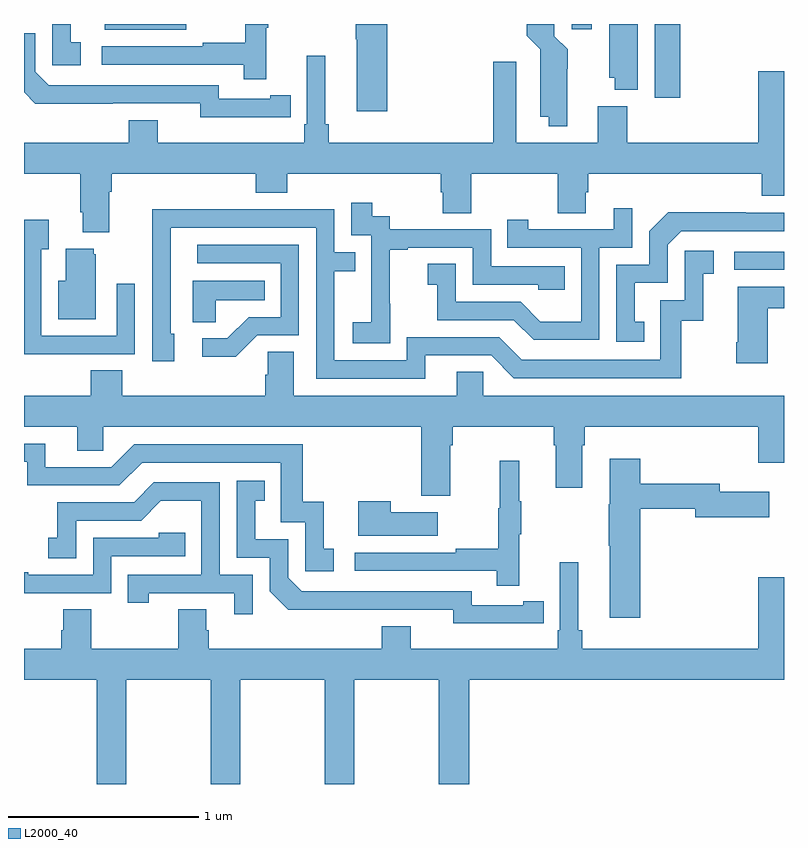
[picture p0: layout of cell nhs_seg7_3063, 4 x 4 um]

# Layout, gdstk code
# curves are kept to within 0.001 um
import gdstk
lib = gdstk.Library(unit=1e-6, precision=1e-09)
def R(c, l, rs):  # rectangles x0, y0, x1, y1
    for r in rs: c.add(gdstk.rectangle(r[:2], r[2:], *l))
def P(c, l, *ps):  # polygons
    for p in ps: c.add(gdstk.Polygon(p, *l))
L2000_40 = (2000, 40)

nhs_seg7_3063 = lib.new_cell('nhs_seg7_3063')
R(nhs_seg7_3063, L2000_40, [(308.739,1070.706,309,1070.802), (308.321,1071.612,308.453,1072), (305.426,1071.971,305.854,1072), (307.883,1071.972,307.987,1072)])
P(nhs_seg7_3063, L2000_40, [(308.23,1072),(308.081,1072),(308.081,1071.717),(308.108,1071.717),(308.108,1071.653),(308.23,1071.653)],
  [(306.275,1071.979),(306.286,1071.979),(306.286,1072),(306.165,1072),(306.165,1071.902),(305.941,1071.902),(305.941,1071.882),(305.409,1071.882),(305.409,1071.786),(306.157,1071.786),(306.157,1071.708),(306.275,1071.708)],
  [(305.299,1071.903),(305.246,1071.903),(305.246,1072),(305.148,1072),(305.148,1071.783),(305.299,1071.783)],
  [(306.911,1072),(306.745,1072),(306.745,1071.919),(306.752,1071.919),(306.752,1071.54),(306.911,1071.54)],
  [(307.86,1071.764),(307.861,1071.764),(307.861,1071.866),(307.791,1071.936),(307.791,1072),(307.646,1072),(307.646,1071.938),(307.718,1071.866),(307.718,1071.512),(307.763,1071.512),(307.763,1071.461),(307.86,1071.461)],
  [(306.296,1071.51),(306.404,1071.51),(306.404,1071.626),(306.296,1071.626),(306.296,1071.606),(306.024,1071.606),(306.024,1071.678),(305.13,1071.678),(305.058,1071.75),(305.058,1071.951),(305,1071.951),(305,1071.64),(305.06,1071.581),(305.928,1071.582),(305.928,1071.509)],
  [(305.449,1071.116),(305.462,1071.116),(305.462,1071.212),(306.221,1071.212),(306.221,1071.113),(306.386,1071.113),(306.386,1071.212),(307.193,1071.212),(307.193,1071.114),(307.205,1071.114),(307.205,1071.004),(307.353,1071.004),(307.353,1071.212),(307.81,1071.212),(307.81,1071.004),(307.957,1071.004),(307.957,1071.114),(307.97,1071.114),(307.97,1071.212),(308.882,1071.212),(308.882,1071.095),(309,1071.095),(309,1071.751),(308.864,1071.751),(308.864,1071.376),(308.174,1071.376),(308.174,1071.568),(308.021,1071.568),(308.021,1071.376),(307.591,1071.376),(307.591,1071.802),(307.469,1071.802),(307.469,1071.376),(306.605,1071.376),(306.605,1071.472),(306.586,1071.472),(306.586,1071.832),(306.489,1071.832),(306.489,1071.472),(306.476,1071.472),(306.476,1071.376),(305.704,1071.376),(305.704,1071.493),(305.552,1071.493),(305.552,1071.376),(305,1071.376),(305,1071.212),(305.297,1071.212),(305.297,1071.01),(305.309,1071.01),(305.309,1070.903),(305.449,1070.903)],
  [(306.927,1070.527),(306.926,1070.527),(306.926,1070.811),(307.021,1070.811),(307.021,1070.823),(307.362,1070.823),(307.362,1070.628),(307.707,1070.628),(307.707,1070.601),(307.847,1070.601),(307.847,1070.724),(307.458,1070.724),(307.458,1070.919),(306.924,1070.919),(306.924,1070.988),(306.832,1070.988),(306.832,1071.058),(306.723,1071.058),(306.723,1070.889),(306.828,1070.889),(306.828,1070.66),(306.827,1070.66),(306.827,1070.431),(306.729,1070.431),(306.729,1070.321),(306.927,1070.321)],
  [(308.028,1070.823),(308.202,1070.823),(308.202,1071.031),(308.105,1071.031),(308.105,1070.919),(307.654,1070.919),(307.654,1070.971),(307.543,1070.971),(307.543,1070.823),(307.932,1070.823),(307.932,1070.434),(307.718,1070.434),(307.614,1070.538),(307.272,1070.538),(307.272,1070.737),(307.125,1070.737),(307.125,1070.627),(307.174,1070.627),(307.174,1070.442),(307.577,1070.442),(307.682,1070.337),(308.028,1070.337)],
  [(307.111,1070.256),(307.458,1070.256),(307.578,1070.136),(308.458,1070.136),(308.458,1070.439),(308.576,1070.439),(308.576,1070.685),(308.629,1070.685),(308.629,1070.806),(308.478,1070.806),(308.478,1070.547),(308.349,1070.547),(308.349,1070.232),(307.62,1070.232),(307.5,1070.352),(307.014,1070.352),(307.014,1070.229),(306.633,1070.229),(306.633,1070.698),(306.743,1070.698),(306.743,1070.799),(306.633,1070.799),(306.633,1071.024),(306.137,1071.024),(306.137,1071.026),(305.674,1071.026),(305.674,1070.719),(305.676,1070.719),(305.676,1070.226),(305.791,1070.226),(305.791,1070.37),(305.772,1070.37),(305.772,1070.928),(306.537,1070.928),(306.537,1070.133),(307.111,1070.133)],
  [(308.264,1070.433),(308.215,1070.433),(308.215,1070.637),(308.388,1070.637),(308.388,1070.838),(308.46,1070.91),(309,1070.91),(309,1071.006),(308.798,1071.006),(308.798,1071.008),(308.39,1071.008),(308.292,1070.91),(308.292,1070.733),(308.118,1070.733),(308.118,1070.328),(308.264,1070.328)],
  [(305.267,1070.262),(305.583,1070.262),(305.583,1070.632),(305.487,1070.632),(305.487,1070.358),(305.091,1070.358),(305.091,1070.815),(305.131,1070.815),(305.131,1070.971),(305,1070.971),(305,1070.261),(305.267,1070.261)],
  [(306.228,1070.361),(306.447,1070.361),(306.447,1070.838),(305.913,1070.838),(305.913,1070.742),(306.351,1070.742),(306.351,1070.457),(306.182,1070.457),(306.071,1070.346),(305.937,1070.346),(305.937,1070.249),(306.115,1070.249)],
  [(305.377,1070.787),(305.366,1070.787),(305.366,1070.818),(305.219,1070.818),(305.219,1070.65),(305.18,1070.65),(305.18,1070.447),(305.377,1070.447)],
  [(306.009,1070.546),(306.266,1070.546),(306.266,1070.65),(305.888,1070.65),(305.888,1070.431),(306.009,1070.431)],
  [(308.914,1070.503),(309,1070.503),(309,1070.617),(308.756,1070.617),(308.756,1070.326),(308.749,1070.326),(308.749,1070.214),(308.914,1070.214)],
  [(307.243,1069.784),(307.256,1069.784),(307.256,1069.88),(307.787,1069.88),(307.787,1069.784),(307.799,1069.784),(307.799,1069.56),(307.939,1069.56),(307.939,1069.784),(307.952,1069.784),(307.952,1069.88),(308.864,1069.88),(308.864,1069.692),(309,1069.692),(309,1070.044),(307.416,1070.044),(307.416,1070.171),(307.277,1070.171),(307.277,1070.044),(306.421,1070.044),(306.421,1070.276),(306.282,1070.276),(306.282,1070.153),(306.269,1070.153),(306.269,1070.044),(305.516,1070.044),(305.516,1070.177),(305.351,1070.177),(305.351,1070.044),(305,1070.044),(305,1069.88),(305.279,1069.88),(305.279,1069.753),(305.418,1069.753),(305.418,1069.88),(307.091,1069.88),(307.091,1069.518),(307.243,1069.518)],
  [(306.631,1069.239),(306.578,1069.239),(306.578,1069.486),(306.467,1069.486),(306.467,1069.788),(305.58,1069.788),(305.46,1069.668),(305.113,1069.668),(305.113,1069.791),(305,1069.791),(305,1069.695),(305.016,1069.695),(305.016,1069.572),(305.502,1069.572),(305.622,1069.692),(306.351,1069.692),(306.351,1069.377),(306.48,1069.377),(306.48,1069.119),(306.631,1069.119)],
  [(308.243,1069.45),(308.534,1069.45),(308.534,1069.403),(308.923,1069.403),(308.923,1069.537),(308.662,1069.537),(308.662,1069.579),(308.243,1069.579),(308.243,1069.711),(308.084,1069.711),(308.084,1069.473),(308.077,1069.473),(308.077,1069.255),(308.084,1069.255),(308.084,1068.876),(308.243,1068.876)],
  [(307.607,1069.315),(307.618,1069.315),(307.618,1069.489),(307.607,1069.489),(307.607,1069.702),(307.504,1069.702),(307.504,1069.452),(307.497,1069.452),(307.497,1069.238),(307.273,1069.238),(307.273,1069.218),(306.741,1069.218),(306.741,1069.122),(307.489,1069.122),(307.489,1069.044),(307.607,1069.044)],
  [(307.628,1068.846),(307.736,1068.846),(307.736,1068.962),(307.628,1068.962),(307.628,1068.942),(307.356,1068.942),(307.356,1069.014),(306.462,1069.014),(306.39,1069.086),(306.39,1069.287),(306.217,1069.287),(306.217,1069.491),(306.266,1069.491),(306.266,1069.597),(306.12,1069.597),(306.12,1069.191),(306.294,1069.191),(306.294,1069.014),(306.392,1068.917),(307.26,1068.918),(307.26,1068.845)],
  [(306.204,1069.101),(306.03,1069.101),(306.03,1069.587),(305.684,1069.587),(305.579,1069.482),(305.176,1069.482),(305.176,1069.297),(305.127,1069.297),(305.127,1069.188),(305.274,1069.188),(305.274,1069.386),(305.616,1069.386),(305.72,1069.49),(305.934,1069.49),(305.934,1069.101),(305.545,1069.101),(305.545,1068.954),(305.656,1068.954),(305.656,1069.005),(306.107,1069.005),(306.107,1068.894),(306.204,1068.894)],
  [(307.177,1069.429),(306.929,1069.429),(306.929,1069.489),(306.758,1069.489),(306.758,1069.307),(307.177,1069.307)],
  [(305.46,1069.2),(305.849,1069.2),(305.849,1069.323),(305.709,1069.323),(305.709,1069.296),(305.364,1069.296),(305.364,1069.101),(305.023,1069.101),(305.023,1069.114),(305,1069.114),(305,1069.005),(305.46,1069.005)],
  [(305.355,1068.92),(305.207,1068.92),(305.207,1068.81),(305.195,1068.81),(305.195,1068.712),(305,1068.712),(305,1068.548),(305.383,1068.548),(305.383,1068),(305.538,1068),(305.538,1068.548),(305.983,1068.548),(305.983,1068),(306.138,1068),(306.138,1068.548),(306.583,1068.548),(306.583,1068),(306.738,1068),(306.738,1068.548),(307.183,1068.548),(307.183,1068),(307.343,1068),(307.343,1068.548),(309,1068.548),(309,1069.087),(308.864,1069.087),(308.864,1068.712),(307.937,1068.712),(307.937,1068.808),(307.918,1068.808),(307.918,1069.168),(307.821,1069.168),(307.821,1068.808),(307.808,1068.808),(307.808,1068.712),(307.036,1068.712),(307.036,1068.829),(306.884,1068.829),(306.884,1068.712),(305.972,1068.712),(305.972,1068.81),(305.959,1068.81),(305.959,1068.92),(305.812,1068.92),(305.812,1068.712),(305.355,1068.712)])

lib.write_gds('nhs_seg7_3063.gds')
